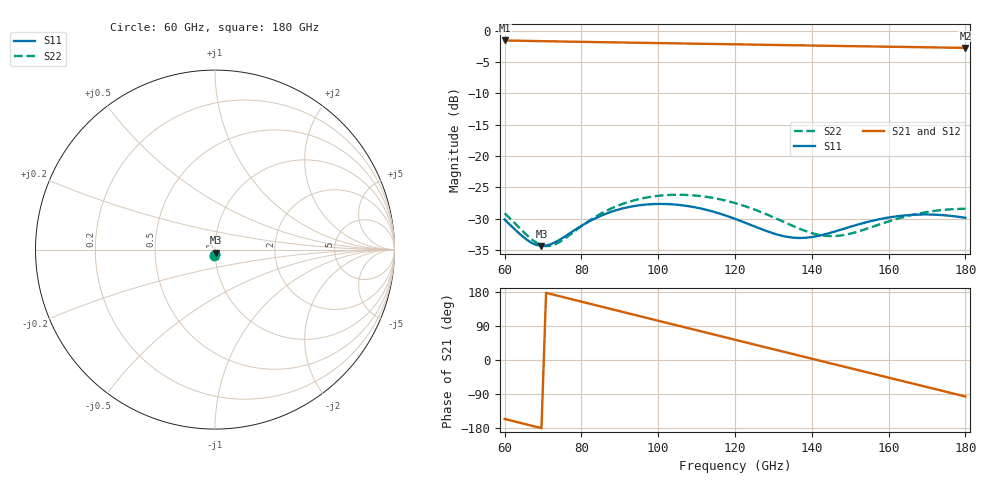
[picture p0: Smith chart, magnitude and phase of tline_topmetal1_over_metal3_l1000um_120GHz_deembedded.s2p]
! Created with skrf 2.2.0 (http://scikit-rf.org).
# GHz S DB R 50.0
! Port[1] = P1
! Port[2] = P2
!freq dBS11 angS11 dBS21 angS21 dBS12 angS12 dBS22 angS22
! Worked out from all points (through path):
!   101 points, 60 GHz to 180 GHz, reference 50 ohm
!   highest |S21| = -1.58 dB at 60 GHz (marker M1); lowest = -2.8 dB at 180 GHz (marker M2)
!   group delay of S21, straight-line fit = 6.96 ps
!   lowest |S11| = -34.3 dB at 69.6 GHz (marker M3), VSWR 1.04, Z = 50.7 - j1.8 ohm
!   |S11| at or under -10 dB: start of sweep to end of sweep
!   |S22| runs from -34.4 to -26.2 dB; largest |S21 - S12| = 9.6e-14
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60  -30.11 -96.0  -1.58 -155.6  -1.58 -155.6  -29.12 -102.9
66  -33.44 -83.2  -1.65 -170.8  -1.65 -170.8  -32.71 -94.4
69.6  -34.32 -67.5  -1.69 -179.8  -1.69 -179.8  -34.21 -79.5
73.2  -33.73 -52.9  -1.73 171.1  -1.73 171.1  -34.06 -61.9
80.4  -30.98 -42.1  -1.81 152.9  -1.81 152.9  -30.99 -45.9
85.2  -29.48 -44.0  -1.86 140.9  -1.86 140.9  -29.13 -46.8
91.2  -28.28 -50.5  -1.92 125.8  -1.92 125.8  -27.52 -53.3
96  -27.77 -57.1  -1.96 113.7  -1.96 113.7  -26.72 -60.3
100.8  -27.63 -64.1  -2.01 101.6  -2.01 101.6  -26.29 -68.0
105.6  -27.80 -71.0  -2.06 89.6  -2.06 89.6  -26.17 -76.0
110.4  -28.27 -77.3  -2.10 77.5  -2.10 77.5  -26.33 -83.7
120  -30.00 -85.8  -2.20 53.5  -2.20 53.5  -27.49 -97.3
126  -31.43 -86.0  -2.26 38.4  -2.26 38.4  -28.74 -103.1
130.8  -32.47 -82.2  -2.30 26.4  -2.30 26.4  -29.97 -105.1
135.6  -33.02 -75.3  -2.35 14.4  -2.35 14.4  -31.27 -103.6
140.4  -32.87 -68.0  -2.40 2.4  -2.40 2.4  -32.34 -98.0
145.2  -32.16 -63.2  -2.44 -9.6  -2.44 -9.6  -32.75 -89.6
150  -31.27 -61.8  -2.49 -21.6  -2.49 -21.6  -32.36 -81.7
154.8  -30.46 -63.1  -2.53 -33.5  -2.53 -33.5  -31.48 -77.2
160.8  -29.72 -67.4  -2.59 -48.5  -2.59 -48.5  -30.26 -76.6
170.4  -29.31 -76.7  -2.68 -72.4  -2.68 -72.4  -28.87 -82.7
180  -29.84 -85.4  -2.76 -96.3  -2.76 -96.3  -28.41 -92.2
